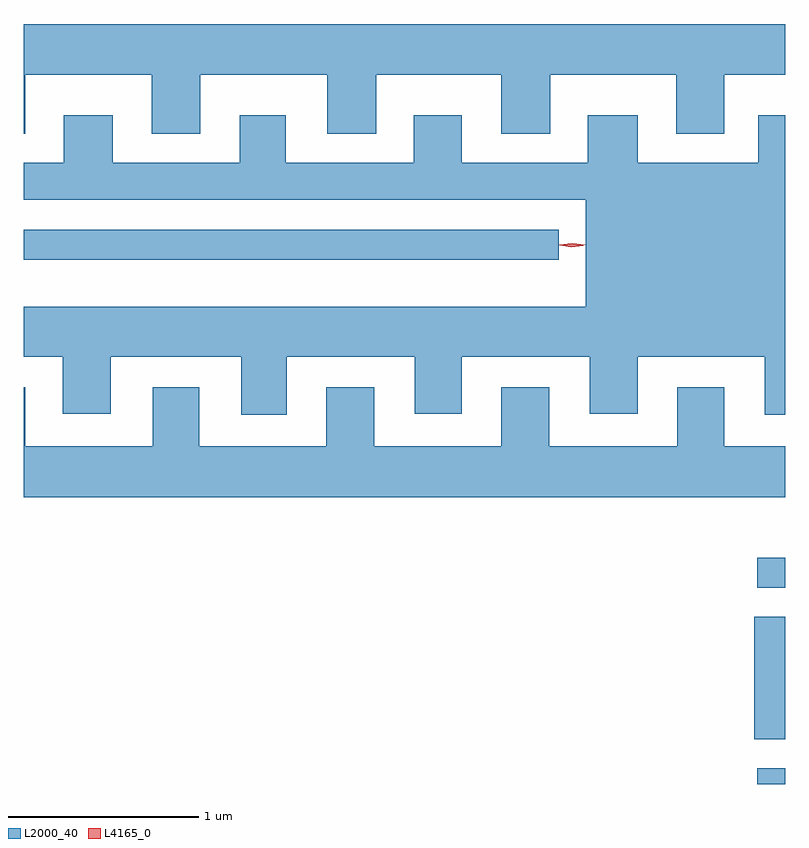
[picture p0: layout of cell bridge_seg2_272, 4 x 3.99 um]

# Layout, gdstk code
import gdstk
lib = gdstk.Library(unit=1e-6, precision=1e-09)
def R(c, l, rs):  # rectangles x0, y0, x1, y1
    for r in rs: c.add(gdstk.rectangle(r[:2], r[2:], *l))
def P(c, l, *ps):  # polygons
    for p in ps: c.add(gdstk.Polygon(p, *l))
L2000_40 = (2000, 40)
L4165_0 = (4165, 0)

bridge_seg2_272 = lib.new_cell('bridge_seg2_272')
R(bridge_seg2_272, L2000_40, [(644.883,1086.77,645.028,1086.854), (644.866,1087.006,645.028,1087.649), (644.883,1087.801,645.028,1087.959), (641.028,1089.526,643.838,1089.684)])
P(bridge_seg2_272, L2000_40, [(641.034,1090.496),(641.701,1090.496),(641.701,1090.186),(641.954,1090.186),(641.954,1090.496),(642.621,1090.496),(642.621,1090.186),(642.879,1090.186),(642.879,1090.496),(643.536,1090.496),(643.536,1090.186),(643.794,1090.186),(643.794,1090.496),(644.456,1090.496),(644.456,1090.186),(644.709,1090.186),(644.709,1090.496),(645.028,1090.496),(645.028,1090.764),(641.028,1090.764),(641.028,1090.186),(641.034,1090.186)],
  [(642.409,1089.016),(643.081,1089.016),(643.081,1088.716),(643.329,1088.716),(643.329,1089.016),(644.001,1089.016),(644.001,1088.716),(644.254,1088.716),(644.254,1089.016),(644.921,1089.016),(644.921,1088.711),(645.028,1088.711),(645.028,1090.284),(644.886,1090.284),(644.886,1090.034),(644.254,1090.034),(644.254,1090.284),(643.991,1090.284),(643.991,1090.034),(643.329,1090.034),(643.329,1090.284),(643.076,1090.284),(643.076,1090.034),(642.404,1090.034),(642.404,1090.284),(642.161,1090.284),(642.161,1090.034),(641.494,1090.034),(641.494,1090.284),(641.236,1090.284),(641.236,1090.034),(641.028,1090.034),(641.028,1089.841),(643.981,1089.841),(643.981,1089.279),(641.028,1089.279),(641.028,1089.016),(641.231,1089.016),(641.231,1088.716),(641.484,1088.716),(641.484,1089.016),(642.171,1089.016),(642.171,1088.711),(642.409,1088.711)],
  [(645.028,1088.544),(644.709,1088.544),(644.709,1088.854),(644.461,1088.854),(644.461,1088.544),(643.789,1088.544),(643.789,1088.854),(643.536,1088.854),(643.536,1088.544),(642.869,1088.544),(642.869,1088.854),(642.616,1088.854),(642.616,1088.544),(641.949,1088.544),(641.949,1088.854),(641.706,1088.854),(641.706,1088.544),(641.034,1088.544),(641.034,1088.854),(641.028,1088.854),(641.028,1088.276),(645.028,1088.276)])
P(bridge_seg2_272, L4165_0, [(643.905,1089.59),(643.844,1089.601),(643.843,1089.601),(643.844,1089.602),(643.905,1089.61),(643.967,1089.6),(643.968,1089.599),(643.967,1089.598)],
  [(643.909,1089.593),(643.84,1089.603),(643.84,1089.603),(643.84,1089.604),(643.909,1089.613),(643.977,1089.604),(643.978,1089.603),(643.977,1089.603)])

lib.write_gds('bridge_seg2_272.gds')
